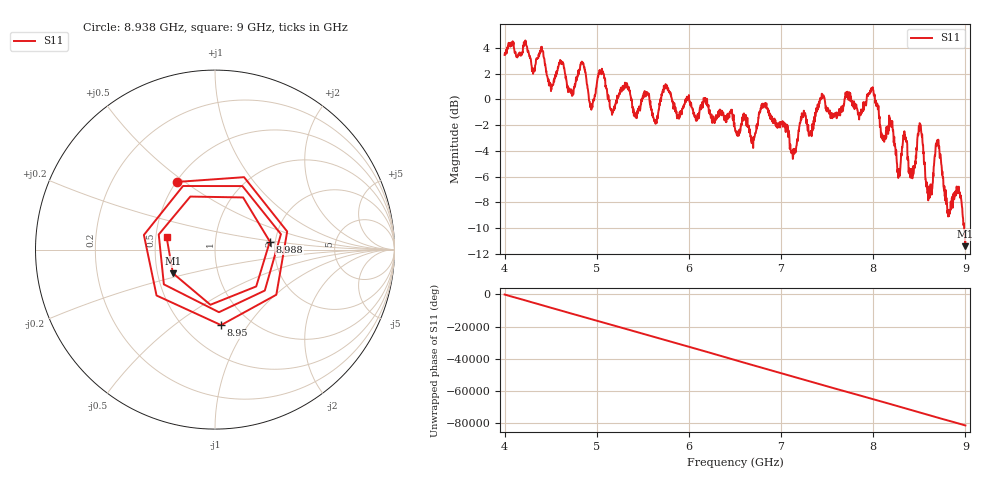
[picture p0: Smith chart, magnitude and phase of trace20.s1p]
! Created with skrf 1.8.0 (http://scikit-rf.org).
# Hz S RI R 50.0
!freq ReS11 ImS11
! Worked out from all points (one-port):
!   1601 points, 4 GHz to 9 GHz, reference 50 ohm
!   lowest |S11| = -11.4 dB at 8.997 GHz (marker M1), VSWR 1.74, Z = 30.1 - j8.56 ohm
!   |S11| at or under -10 dB: 8.98657 GHz to end of sweep
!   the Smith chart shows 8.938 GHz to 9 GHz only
!   S11 on the Smith chart (normalised r, x): 8.938 GHz: 0.51, +0.47; 8.95 GHz: 0.74, -0.76; 8.988 GHz: 1.87, +0.18; 9 GHz: 0.57, +0.09
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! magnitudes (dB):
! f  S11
! 4 GHz  3.5
! 4.625 GHz  2.9
! 4.722 GHz  0.5
! 4.847 GHz  2.8
! 4.941 GHz  -0.8
! 5.044 GHz  2.0
! 5.162 GHz  -0.9
! 5.25 GHz  0.4
! 5.875 GHz  -1.2
! 6.5 GHz  -2.2
! 6.7 GHz  -3.0
! 6.816 GHz  -0.5
! 7.125 GHz  -4.3
! 7.444 GHz  0.4
! 7.75 GHz  0.5
! 7.991 GHz  0.8
! 8.275 GHz  -5.8
! 8.375 GHz  -4.5
! 8.428 GHz  -5.5
! 8.506 GHz  -1.9
! 8.6 GHz  -6.8
! 8.694 GHz  -3.3
! 8.809 GHz  -8.6
! 8.938 GHz  -7.3
! 8.95 GHz  -7.5
! 8.988 GHz  -10.2
! 8.997 GHz  -11.4
! 9 GHz  -11.1
